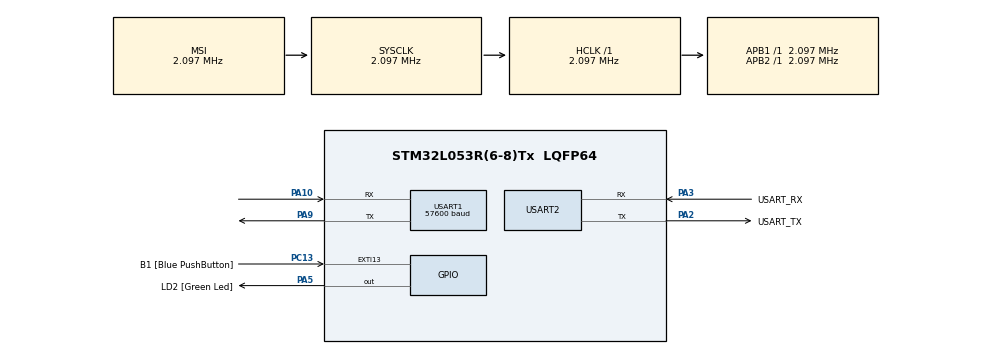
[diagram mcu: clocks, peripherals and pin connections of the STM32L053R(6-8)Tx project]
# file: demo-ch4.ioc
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Mcu.Family=STM32L0
Mcu.Name=STM32L053R(6-8)Tx
Mcu.Package=LQFP64
NVIC.USART1_IRQn=true\:0\:0\:false\:false\:true\:true
PA10.Mode=Asynchronous
PA10.Signal=USART1_RX
PA13.GPIO_Label=TMS
PA13.Mode=Serial_Wire
PA13.Signal=SYS_SWDIO
PA14.GPIO_Label=TCK
PA14.Mode=Serial_Wire
PA14.Signal=SYS_SWCLK
PA2.GPIO_Label=USART_TX
PA2.Mode=Asynchronous
PA2.Signal=USART2_TX
PA3.GPIO_Label=USART_RX
PA3.Mode=Asynchronous
PA3.Signal=USART2_RX
PA5.GPIO_Label=LD2 [Green Led]
PA5.Signal=GPIO_Output
PA9.Mode=Asynchronous
PA9.Signal=USART1_TX
PC13.GPIO_Label=B1 [Blue PushButton]
PC13.GPIO_ModeDefaultEXTI=GPIO_MODE_IT_FALLING
PC13.Signal=GPXTI13
PC14-OSC32_IN.Mode=LSE-External-Oscillator
PC14-OSC32_IN.Signal=RCC_OSC32_IN
PC15-OSC32_OUT.Mode=LSE-External-Oscillator
PC15-OSC32_OUT.Signal=RCC_OSC32_OUT
PH0-OSC_IN.Mode=HSE-External-Clock-Source
PH0-OSC_IN.Signal=RCC_OSC_IN
PH1-OSC_OUT.Signal=RCC_OSC_OUT
ProjectManager.HeapSize=0x200
ProjectManager.StackSize=0x400
ProjectManager.TargetToolchain=SW4STM32
RCC.AHBFreq_Value=2097000
RCC.APB1Freq_Value=2097000
RCC.APB1TimFreq_Value=2097000
RCC.APB2Freq_Value=2097000
RCC.APB2TimFreq_Value=2097000
RCC.HSE_VALUE=8000000
RCC.HSI16_VALUE=16000000
RCC.HSI48_VALUE=48000000
RCC.HSI_VALUE=16000000
RCC.MSI_VALUE=2097000
RCC.SYSCLKFreq_VALUE=2097000
RCC.VCOOutputFreq_Value=48000000
USART1.BaudRate=57600
USART1.VirtualMode-Asynchronous=VM_ASYNC
USART2.VirtualMode-Asynchronous=VM_ASYNC
board=NUCLEO-L053R8

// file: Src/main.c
/**
  ******************************************************************************
  * @file           : main.c
  * @brief          : Main program body
  ******************************************************************************
  ** This notice applies to any and all portions of this file
  * that are not between comment pairs USER CODE BEGIN and
  * USER CODE END. Other portions of this file, whether
  * inserted by the user or by software development tools
  * are owned by their respective copyright owners.
  *
  * COPYRIGHT(c) 2019 STMicroelectronics
  *
  * Redistribution and use in source and binary forms, with or without modification,
  * are permitted provided that the following conditions are met:
  *   1. Redistributions of source code must retain the above copyright notice,
  *      this list of conditions and the following disclaimer.
  *   2. Redistributions in binary form must reproduce the above copyright notice,
  *      this list of conditions and the following disclaimer in the documentation
  *      and/or other materials provided with the distribution.
  *   3. Neither the name of STMicroelectronics nor the names of its contributors
  *      may be used to endorse or promote products derived from this software
  *      without specific prior written permission.
  *
  * THIS SOFTWARE IS PROVIDED BY THE COPYRIGHT HOLDERS AND CONTRIBUTORS "AS IS"
  * AND ANY EXPRESS OR IMPLIED WARRANTIES, INCLUDING, BUT NOT LIMITED TO, THE
  * IMPLIED WARRANTIES OF MERCHANTABILITY AND FITNESS FOR A PARTICULAR PURPOSE ARE
  * DISCLAIMED. IN NO EVENT SHALL THE COPYRIGHT HOLDER OR CONTRIBUTORS BE LIABLE
  * FOR ANY DIRECT, INDIRECT, INCIDENTAL, SPECIAL, EXEMPLARY, OR CONSEQUENTIAL
  * DAMAGES (INCLUDING, BUT NOT LIMITED TO, PROCUREMENT OF SUBSTITUTE GOODS OR
  * SERVICES; LOSS OF USE, DATA, OR PROFITS; OR BUSINESS INTERRUPTION) HOWEVER
  * CAUSED AND ON ANY THEORY OF LIABILITY, WHETHER IN CONTRACT, STRICT LIABILITY,
  * OR TORT (INCLUDING NEGLIGENCE OR OTHERWISE) ARISING IN ANY WAY OUT OF THE USE
  * OF THIS SOFTWARE, EVEN IF ADVISED OF THE POSSIBILITY OF SUCH DAMAGE.
  *
  ******************************************************************************
  */
#include "main.h"
#include "stm32l0xx_hal.h"

/* USER CODE BEGIN Includes */

#include <string.h>
#include "xprintf.h"
#include "ELICHENS_driver.h"

/* USER CODE END Includes */

UART_HandleTypeDef huart1;
UART_HandleTypeDef huart2;

/* USER CODE BEGIN PV */

/* Private variables ---------------------------------------------------------*/

/* USER CODE END PV */

void SystemClock_Config(void);
static void MX_GPIO_Init(void);
static void MX_USART2_UART_Init(void);
static void MX_USART1_UART_Init(void);

/* USER CODE BEGIN PFP */
/* Private function prototypes -----------------------------------------------*/

// Prototype for our UART communication
ELCOM_errorCode_t el_uartTransmit(uint8_t *data, uint16_t size);
ELCOM_errorCode_t el_uartReceive(uint8_t *data);
ELCOM_errorCode_t el_uartWaitUntilReceived(void);
void el_uartAbortReceive(void);

// Define our sensor
ELICHENS_Sensor_t sensor = {
  .uartTransmit = &el_uartTransmit,
  .uartReceive = &el_uartReceive,
  .uartWaitUntilReceived = &el_uartWaitUntilReceived,
  .uartAbortReceive = &el_uartAbortReceive,
};

/* USER CODE END PFP */

/* USER CODE BEGIN 0 */

// Utility function for logs

static char log_buffer[320];

void log_message(char *message, ...)
{
	va_list args;

	// Construct log message from format string and optional arguments
	va_start(args, message);
	xvsprintf(log_buffer, message, args);
	va_end(args);

	// Add LF-CR at end of string
	strcat(log_buffer, "\n");

	HAL_UART_Transmit(&huart2, (uint8_t*)log_buffer, strlen(log_buffer), 100);
}

// Implement our UART communication

static ELCOM_errorCode_t el_errorCodeFromHAL(HAL_StatusTypeDef res)
{
	if (HAL_OK == res) {
		return ELCOM_NO_ERROR;
	}
	if (HAL_TIMEOUT == res) {
		return ELCOM_SLAVE_TIMEOUT;
	}
	// Any other error
	return ELCOM_SLAVE_ERROR;
}

ELCOM_errorCode_t el_uartTransmit(uint8_t *data, uint16_t size)
{
	HAL_StatusTypeDef res;

	res = HAL_UART_Transmit(&huart1, data, size, 10 * size);

	if (HAL_OK != res) {
		log_message("Failed to transmit data, res=%d", res);
	}

	return el_errorCodeFromHAL(res);
}

ELCOM_errorCode_t el_uartWaitUntilReceived(void)
{
	uint32_t start = HAL_GetTick();

	while (HAL_GetTick() - start < 250) {
		if (ELCOM_isResponseComplete(sensor.bufferRx)) {
			// Yet we need to abort
			el_uartAbortReceive();
			return ELCOM_NO_ERROR;
		}
		// Continue waiting
	}

	log_message("Receive data timed out");
	return ELCOM_SLAVE_TIMEOUT;
}

ELCOM_errorCode_t el_uartReceive(uint8_t *data)
{
	HAL_StatusTypeDef res;

	// Clear the buffer
	memset(data, 0, ELCOM_DATA_BUFFER_SIZE);

	// Start listening to incoming message
	res = HAL_UART_Receive_IT(&huart1, data, ELCOM_DATA_BUFFER_SIZE);

	if (HAL_OK != res) {
		log_message("Failed to receive data, res=%d", res);
	}

	return el_errorCodeFromHAL(res);
}

void el_uartAbortReceive(void)
{
	HAL_UART_Abort_IT(&huart1);
}

/* USER CODE END 0 */

int main(void)
{
  /* USER CODE BEGIN 1 */

  ELCOM_errorCode_t error_code;
  char str[24];
  uint32_t sn, runtime;
  ELICHENS_SensorData_t data;
  float temperature;

  /* USER CODE END 1 */

  /* MCU Configuration----------------------------------------------------------*/

  /* Reset of all peripherals, Initializes the Flash interface and the Systick. */
  HAL_Init();

  /* Configure the system clock */
  SystemClock_Config();

  /* Initialize all configured peripherals */
  MX_GPIO_Init();
  MX_USART2_UART_Init();
  MX_USART1_UART_Init();
  /* USER CODE BEGIN 2 */

  log_message("Starting up...");

  // Init sensor
  HAL_Delay(EL_STARTUP_DELAY_MS);

  // Display debug infos
  ELCOM_getSysModelName(&sensor, str);
  log_message("Model name: '%s'", str);
  HAL_Delay(10);

  ELCOM_getSysProdName(&sensor, str);
  log_message("Product name: '%s'", str);
  HAL_Delay(10);

  ELCOM_getSysFwVer(&sensor, str);
  log_message("Firmware version: '%s'", str);
  HAL_Delay(10);

  ELCOM_getSysSn(&sensor, &sn);
  log_message("Serial number: '%d'", sn);
  HAL_Delay(10);

  ELCOM_getSenName(&sensor, str);
  log_message("Sensor's name: '%s'", str);
  HAL_Delay(10);

  // Load sensor's format
  ELCOM_getSenDataFmt(&sensor, &sensor.dataFormat);
  HAL_Delay(10);

  /* USER CODE END 2 */

  /* Infinite loop */
  /* USER CODE BEGIN WHILE */
  while (1)
  {

	error_code = ELCOM_getSysRunTime(&sensor, &runtime);
	error_code |= ELCOM_getSenData(&sensor, &data);
	error_code |= ELCOM_getSenTemp(&sensor, &temperature);

	if (ELCOM_NO_ERROR == error_code) {
	  log_message("time = %d ; ppm = %d ; milliDegC = %d",
	      runtime, data.value, (uint32_t)(temperature * 1000));
	}
	else {
	  log_message("Failed to read sensor value");
	}

    HAL_Delay(1000);

  /* USER CODE END WHILE */

  }

}

void SystemClock_Config(void)
{

  RCC_OscInitTypeDef RCC_OscInitStruct;
  RCC_ClkInitTypeDef RCC_ClkInitStruct;
  RCC_PeriphCLKInitTypeDef PeriphClkInit;

    /**Configure the main internal regulator output voltage
    */
  __HAL_PWR_VOLTAGESCALING_CONFIG(PWR_REGULATOR_VOLTAGE_SCALE1);

    /**Initializes the CPU, AHB and APB busses clocks
    */
  RCC_OscInitStruct.OscillatorType = RCC_OSCILLATORTYPE_MSI;
  RCC_OscInitStruct.MSIState = RCC_MSI_ON;
  RCC_OscInitStruct.MSICalibrationValue = 0;
  RCC_OscInitStruct.MSIClockRange = RCC_MSIRANGE_5;
  RCC_OscInitStruct.PLL.PLLState = RCC_PLL_NONE;
  if (HAL_RCC_OscConfig(&RCC_OscInitStruct) != HAL_OK)
  {
    _Error_Handler(__FILE__, __LINE__);
  }

    /**Initializes the CPU, AHB and APB busses clocks
    */
  RCC_ClkInitStruct.ClockType = RCC_CLOCKTYPE_HCLK|RCC_CLOCKTYPE_SYSCLK
                              |RCC_CLOCKTYPE_PCLK1|RCC_CLOCKTYPE_PCLK2;
  RCC_ClkInitStruct.SYSCLKSource = RCC_SYSCLKSOURCE_MSI;
  RCC_ClkInitStruct.AHBCLKDivider = RCC_SYSCLK_DIV1;
  RCC_ClkInitStruct.APB1CLKDivider = RCC_HCLK_DIV1;
  RCC_ClkInitStruct.APB2CLKDivider = RCC_HCLK_DIV1;

  if (HAL_RCC_ClockConfig(&RCC_ClkInitStruct, FLASH_LATENCY_0) != HAL_OK)
  {
    _Error_Handler(__FILE__, __LINE__);
  }

  PeriphClkInit.PeriphClockSelection = RCC_PERIPHCLK_USART1|RCC_PERIPHCLK_USART2;
  PeriphClkInit.Usart1ClockSelection = RCC_USART1CLKSOURCE_PCLK2;
  PeriphClkInit.Usart2ClockSelection = RCC_USART2CLKSOURCE_PCLK1;
  if (HAL_RCCEx_PeriphCLKConfig(&PeriphClkInit) != HAL_OK)
  {
    _Error_Handler(__FILE__, __LINE__);
  }

    /**Configure the Systick interrupt time
    */
  HAL_SYSTICK_Config(HAL_RCC_GetHCLKFreq()/1000);

    /**Configure the Systick
    */
  HAL_SYSTICK_CLKSourceConfig(SYSTICK_CLKSOURCE_HCLK);

  /* SysTick_IRQn interrupt configuration */
  HAL_NVIC_SetPriority(SysTick_IRQn, 0, 0);
}

/* USART1 init function */
static void MX_USART1_UART_Init(void)
{

  huart1.Instance = USART1;
  huart1.Init.BaudRate = 57600;
  huart1.Init.WordLength = UART_WORDLENGTH_8B;
  huart1.Init.StopBits = UART_STOPBITS_1;
  huart1.Init.Parity = UART_PARITY_NONE;
  huart1.Init.Mode = UART_MODE_TX_RX;
  huart1.Init.HwFlowCtl = UART_HWCONTROL_NONE;
  huart1.Init.OverSampling = UART_OVERSAMPLING_16;
  huart1.Init.OneBitSampling = UART_ONE_BIT_SAMPLE_DISABLE;
  huart1.AdvancedInit.AdvFeatureInit = UART_ADVFEATURE_NO_INIT;
  if (HAL_UART_Init(&huart1) != HAL_OK)
  {
    _Error_Handler(__FILE__, __LINE__);
  }

}

/* USART2 init function */
static void MX_USART2_UART_Init(void)
{

  huart2.Instance = USART2;
  huart2.Init.BaudRate = 115200;
  huart2.Init.WordLength = UART_WORDLENGTH_8B;
  huart2.Init.StopBits = UART_STOPBITS_1;
  huart2.Init.Parity = UART_PARITY_NONE;
  huart2.Init.Mode = UART_MODE_TX_RX;
  huart2.Init.HwFlowCtl = UART_HWCONTROL_NONE;
  huart2.Init.OverSampling = UART_OVERSAMPLING_16;
  huart2.Init.OneBitSampling = UART_ONE_BIT_SAMPLE_DISABLE;
  huart2.AdvancedInit.AdvFeatureInit = UART_ADVFEATURE_NO_INIT;
  if (HAL_UART_Init(&huart2) != HAL_OK)
  {
    _Error_Handler(__FILE__, __LINE__);
  }

}

/** Configure pins as
        * Analog
        * Input
        * Output
        * EVENT_OUT
        * EXTI
*/
static void MX_GPIO_Init(void)
{

  GPIO_InitTypeDef GPIO_InitStruct;

  /* GPIO Ports Clock Enable */
  __HAL_RCC_GPIOC_CLK_ENABLE();
  __HAL_RCC_GPIOH_CLK_ENABLE();
  __HAL_RCC_GPIOA_CLK_ENABLE();

  /*Configure GPIO pin Output Level */
  HAL_GPIO_WritePin(LD2_GPIO_Port, LD2_Pin, GPIO_PIN_RESET);

  /*Configure GPIO pin : B1_Pin */
  GPIO_InitStruct.Pin = B1_Pin;
  GPIO_InitStruct.Mode = GPIO_MODE_IT_FALLING;
  GPIO_InitStruct.Pull = GPIO_NOPULL;
  HAL_GPIO_Init(B1_GPIO_Port, &GPIO_InitStruct);

  /*Configure GPIO pin : LD2_Pin */
  GPIO_InitStruct.Pin = LD2_Pin;
  GPIO_InitStruct.Mode = GPIO_MODE_OUTPUT_PP;
  GPIO_InitStruct.Pull = GPIO_NOPULL;
  GPIO_InitStruct.Speed = GPIO_SPEED_FREQ_LOW;
  HAL_GPIO_Init(LD2_GPIO_Port, &GPIO_InitStruct);

}

void _Error_Handler(char *file, int line)
{
  while(1)
  {
  }
}

/************************ (C) COPYRIGHT STMicroelectronics *****END OF FILE****/
